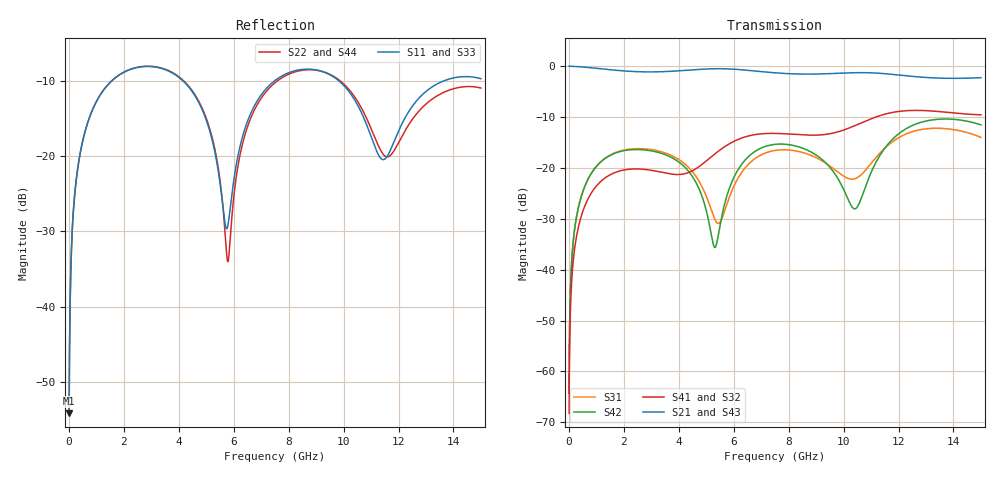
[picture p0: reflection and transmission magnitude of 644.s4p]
! Created with skrf 1.8.0 (http://scikit-rf.org).
# GHz S RI R 50.0
!freq ReS11 ImS11 ReS12 ImS12 ReS13 ImS13
! ReS14 ImS14
! ReS21 ImS21 ReS22 ImS22 ReS23 ImS23
! ReS24 ImS24
! ReS31 ImS31 ReS32 ImS32 ReS33 ImS33
! ReS34 ImS34
! ReS41 ImS41 ReS42 ImS42 ReS43 ImS43
! ReS44 ImS44
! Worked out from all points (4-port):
!   2499 points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, 5 MHz to 15 GHz, reference 50 ohm
!   strongest paths, dB at 5 MHz, 3.476 GHz, 7.19 GHz, 11.1 GHz, 15 GHz:
!     S21: 0.0, -1.1, -1.2, -1.3, -2.3
!     S43: 0.0, -1.1, -1.2, -1.3, -2.3
!     S41: -68.2, -21.0, -13.2, -10.2, -9.6
!     S32: -68.2, -21.0, -13.3, -10.1, -9.7
!     S42: -64.3, -17.3, -15.7, -19.8, -11.5
!     S31: -64.3, -17.0, -17.0, -18.5, -14.0
!   lowest |S11| = -54.2 dB at 5 MHz (marker M1), VSWR 1.00, Z = 50.2 + j0.119 ohm
!   |S11| at or under -10 dB: start of sweep to 1.559 GHz; 4.151 GHz to 7.486 GHz (3.335 GHz wide, 57.3 % of centre); 9.828 GHz to 13.65 GHz (3.825 GHz wide, 32.6 % of centre)
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0.005  0.00156 0.00119  0.9984 -0.00304  7.76e-05 0.000604  -7.54e-05 -0.000381
       0.9984 -0.00304  0.00156 0.00119  -7.54e-05 -0.000381  7.75e-05 0.000604
       7.76e-05 0.000604  -7.54e-05 -0.000381  0.00156 0.00119  0.9984 -0.00304
       -7.54e-05 -0.000381  7.75e-05 0.000604  0.9984 -0.00304  0.00156 0.00119
0.3126303  0.0221 0.0785  0.9699 -0.1893  0.00999 0.036  -0.00822 -0.0225
           0.9699 -0.1893  0.0221 0.0785  -0.00821 -0.0225  0.00968 0.0361
           0.00999 0.036  -0.00821 -0.0225  0.0221 0.0785  0.9699 -0.1893
           -0.00822 -0.0225  0.00968 0.0361  0.9699 -0.1893  0.0221 0.0785
1.519383  0.2486 0.1872  0.5946 -0.7022  0.1191 0.0628  -0.0851 -0.0134
          0.5946 -0.7022  0.2499 0.1864  -0.085 -0.0136  0.115 0.0678
          0.1191 0.0628  -0.085 -0.0136  0.2487 0.1871  0.5946 -0.7023
          -0.0851 -0.0134  0.115 0.0678  0.5946 -0.7023  0.2499 0.1865
5.596082  0.0349 -0.0327  -0.9296 -0.1493  -0.0261 0.0206  -0.0201 0.1552
          -0.9296 -0.1493  0.0229 -0.0426  -0.0227 0.1549  0.0207 0.0302
          -0.0261 0.0206  -0.0227 0.1549  0.0335 -0.0323  -0.9297 -0.149
          -0.0201 0.1552  0.0207 0.0302  -0.9297 -0.149  0.024 -0.0419
8.959983  0.3725 -0.0421  0.0262 0.8348  0.0954 -0.0847  0.2017 -0.0571
          0.0262 0.8348  0.3718 -0.0282  0.2021 -0.0518  0.1015 -0.0903
          0.0954 -0.0847  0.2021 -0.0518  0.3747 -0.0418  0.0263 0.8341
          0.2017 -0.0571  0.1015 -0.0903  0.0263 0.8341  0.3729 -0.0287
11.61734  0.1004 0.0167  0.8337 0.0772  -0.0381 0.1623  0.0179 -0.3426
          0.8337 0.0772  0.0984 -0.0109  0.0268 -0.3419  0.0365 0.167
          -0.0381 0.1623  0.0268 -0.3419  0.101 0.0182  0.8336 0.0771
          0.0179 -0.3426  0.0365 0.167  0.8336 0.0771  0.0975 -0.0131
15  0.3071 -0.111  -0.0164 -0.7693  0.185 -0.0739  -0.3172 0.0995
    -0.0164 -0.7693  0.2748 -0.0688  -0.3163 0.0843  0.2036 -0.169
    0.185 -0.0739  -0.3163 0.0843  0.3164 -0.1184  -0.016 -0.7669
    -0.3172 0.0995  0.2036 -0.169  -0.016 -0.7669  0.278 -0.0608
